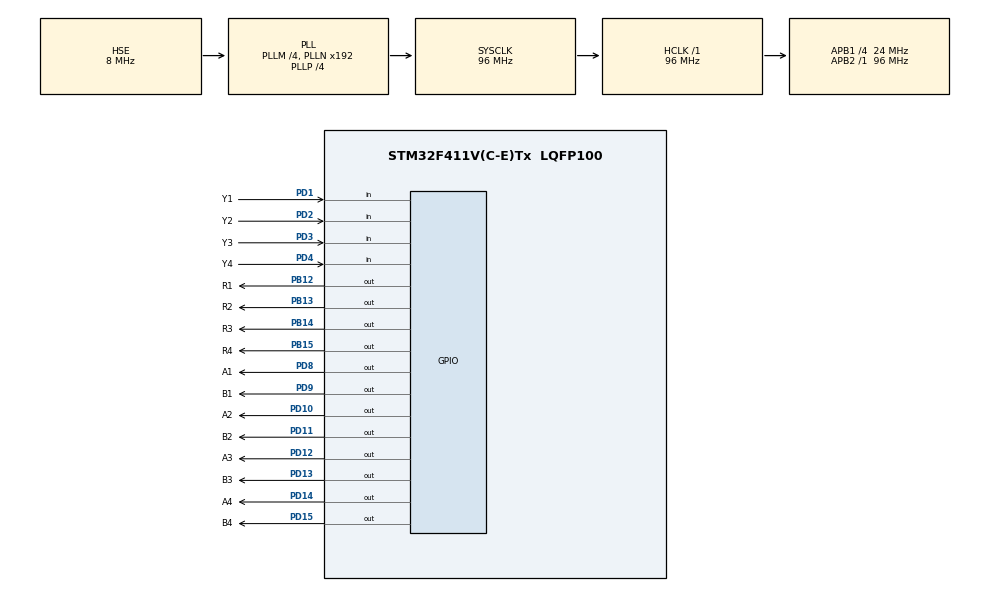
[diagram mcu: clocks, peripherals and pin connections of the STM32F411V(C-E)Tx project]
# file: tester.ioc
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Mcu.Family=STM32F4
Mcu.Name=STM32F411V(C-E)Tx
Mcu.Package=LQFP100
NVIC.PriorityGroup=NVIC_PRIORITYGROUP_0
PA13.Mode=Serial_Wire
PA13.Signal=SYS_JTMS-SWDIO
PA14.Mode=Serial_Wire
PA14.Signal=SYS_JTCK-SWCLK
PB12.GPIO_Label=R1
PB12.Signal=GPIO_Output
PB13.GPIO_Label=R2
PB13.Signal=GPIO_Output
PB14.GPIO_Label=R3
PB14.Signal=GPIO_Output
PB15.GPIO_Label=R4
PB15.Signal=GPIO_Output
PD1.GPIO_Label=Y1
PD1.Signal=GPIO_Input
PD10.GPIO_Label=A2
PD10.Signal=GPIO_Output
PD11.GPIO_Label=B2
PD11.Signal=GPIO_Output
PD12.GPIO_Label=A3
PD12.Signal=GPIO_Output
PD13.GPIO_Label=B3
PD13.Signal=GPIO_Output
PD14.GPIO_Label=A4
PD14.Signal=GPIO_Output
PD15.GPIO_Label=B4
PD15.Signal=GPIO_Output
PD2.GPIO_Label=Y2
PD2.Signal=GPIO_Input
PD3.GPIO_Label=Y3
PD3.Signal=GPIO_Input
PD4.GPIO_Label=Y4
PD4.Signal=GPIO_Input
PD8.GPIO_Label=A1
PD8.Signal=GPIO_Output
PD9.GPIO_Label=B1
PD9.Signal=GPIO_Output
PH0\ -\ OSC_IN.Mode=HSE-External-Oscillator
PH0\ -\ OSC_IN.Signal=RCC_OSC_IN
PH1\ -\ OSC_OUT.Mode=HSE-External-Oscillator
PH1\ -\ OSC_OUT.Signal=RCC_OSC_OUT
ProjectManager.HeapSize=0x200
ProjectManager.StackSize=0x400
ProjectManager.TargetToolchain=STM32CubeIDE
RCC.48MHZClocksFreq_Value=48000000
RCC.AHBFreq_Value=96000000
RCC.APB1CLKDivider=RCC_HCLK_DIV4
RCC.APB1Freq_Value=24000000
RCC.APB1TimFreq_Value=48000000
RCC.APB2Freq_Value=96000000
RCC.APB2TimFreq_Value=96000000
RCC.CortexFreq_Value=96000000
RCC.HCLKFreq_Value=96000000
RCC.HSE_VALUE=8000000
RCC.HSI_VALUE=16000000
RCC.LSE_VALUE=32768
RCC.PLLI2SM=5
RCC.PLLI2SN=200
RCC.PLLM=4
RCC.PLLP=RCC_PLLP_DIV4
RCC.PLLQ=8
RCC.PLLSourceVirtual=RCC_PLLSOURCE_HSE
RCC.SYSCLKFreq_VALUE=96000000
RCC.SYSCLKSource=RCC_SYSCLKSOURCE_PLLCLK
RCC.VCOOutputFreq_Value=384000000
board=STM32F411E-DISCO

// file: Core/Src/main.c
/* USER CODE BEGIN Header */
/**
  ******************************************************************************
  * @file           : main.c
  * @brief          : Main program body
  ******************************************************************************
  * @attention
  *
  * Copyright (c) 2023 STMicroelectronics.
  * All rights reserved.
  *
  * This software is licensed under terms that can be found in the LICENSE file
  * in the root directory of this software component.
  * If no LICENSE file comes with this software, it is provided AS-IS.
  *
  ******************************************************************************
  */
/* USER CODE END Header */
#include "main.h"
#include "gpio.h"

void SystemClock_Config(void);

int main(void)
{

  /* MCU Configuration--------------------------------------------------------*/

  /* Reset of all peripherals, Initializes the Flash interface and the Systick. */
  HAL_Init();

  /* Configure the system clock */
  SystemClock_Config();

  /* Initialize all configured peripherals */
  MX_GPIO_Init();

  /* Infinite loop */
  /* USER CODE BEGIN WHILE */
  while (1)
  {
	  HAL_GPIO_WritePin(GPIOD, A1_Pin, 0);
	  HAL_GPIO_WritePin(GPIOD, B1_Pin, 0);
	  HAL_GPIO_WritePin(GPIOD, A2_Pin, 0);
	  HAL_GPIO_WritePin(GPIOD, B2_Pin, 0);
	  HAL_GPIO_WritePin(GPIOD, A3_Pin, 0);
	  HAL_GPIO_WritePin(GPIOD, B3_Pin, 0);
	  HAL_GPIO_WritePin(GPIOD, A4_Pin, 0);
	  HAL_GPIO_WritePin(GPIOD, B4_Pin, 0);
	  HAL_GPIO_WritePin(GPIOB, R1_Pin, 0);
	  HAL_GPIO_WritePin(GPIOB, R2_Pin, 0);
	  HAL_GPIO_WritePin(GPIOB, R3_Pin, 0);
	  HAL_GPIO_WritePin(GPIOB, R4_Pin, 0);
	  for(int i= 0; i<2; i++){
		  for (int j=0; j<2; j++){
			  HAL_GPIO_WritePin(GPIOD, A1_Pin, i);
			  HAL_GPIO_WritePin(GPIOD, B1_Pin, j);
			  HAL_GPIO_WritePin(GPIOD, A2_Pin, i);
			  HAL_GPIO_WritePin(GPIOD, B2_Pin, j);
			  HAL_GPIO_WritePin(GPIOD, A3_Pin, i);
			  HAL_GPIO_WritePin(GPIOD, B3_Pin, j);
			  HAL_GPIO_WritePin(GPIOD, A4_Pin, i);
			  HAL_GPIO_WritePin(GPIOD, B4_Pin, j);
			  HAL_GPIO_WritePin(GPIOB, R1_Pin, HAL_GPIO_ReadPin(GPIOD, Y1_Pin)==(i^j));
			  HAL_GPIO_WritePin(GPIOB, R2_Pin, HAL_GPIO_ReadPin(GPIOD, Y2_Pin)==(i^j));
			  HAL_GPIO_WritePin(GPIOB, R3_Pin, HAL_GPIO_ReadPin(GPIOD, Y3_Pin)==(i^j));
			  HAL_GPIO_WritePin(GPIOB, R4_Pin, HAL_GPIO_ReadPin(GPIOD, Y4_Pin)==(i^j));
			  HAL_Delay(1000);
			  HAL_GPIO_WritePin(GPIOD, A1_Pin, 0);
			  HAL_GPIO_WritePin(GPIOD, B1_Pin, 0);
			  HAL_GPIO_WritePin(GPIOD, A2_Pin, 0);
			  HAL_GPIO_WritePin(GPIOD, B2_Pin, 0);
			  HAL_GPIO_WritePin(GPIOD, A3_Pin, 0);
			  HAL_GPIO_WritePin(GPIOD, B3_Pin, 0);
			  HAL_GPIO_WritePin(GPIOD, A4_Pin, 0);
			  HAL_GPIO_WritePin(GPIOD, B4_Pin, 0);
			  HAL_GPIO_WritePin(GPIOB, R1_Pin, 0);
			  HAL_GPIO_WritePin(GPIOB, R2_Pin, 0);
			  HAL_GPIO_WritePin(GPIOB, R3_Pin, 0);
			  HAL_GPIO_WritePin(GPIOB, R4_Pin, 0);
			  HAL_Delay(1000);
	  }
	  }
    /* USER CODE END WHILE */

  }
}

void SystemClock_Config(void)
{
  RCC_OscInitTypeDef RCC_OscInitStruct = {0};
  RCC_ClkInitTypeDef RCC_ClkInitStruct = {0};

  /** Configure the main internal regulator output voltage
  */
  __HAL_RCC_PWR_CLK_ENABLE();
  __HAL_PWR_VOLTAGESCALING_CONFIG(PWR_REGULATOR_VOLTAGE_SCALE1);

  /** Initializes the RCC Oscillators according to the specified parameters
  * in the RCC_OscInitTypeDef structure.
  */
  RCC_OscInitStruct.OscillatorType = RCC_OSCILLATORTYPE_HSE;
  RCC_OscInitStruct.HSEState = RCC_HSE_ON;
  RCC_OscInitStruct.PLL.PLLState = RCC_PLL_ON;
  RCC_OscInitStruct.PLL.PLLSource = RCC_PLLSOURCE_HSE;
  RCC_OscInitStruct.PLL.PLLM = 4;
  RCC_OscInitStruct.PLL.PLLN = 192;
  RCC_OscInitStruct.PLL.PLLP = RCC_PLLP_DIV4;
  RCC_OscInitStruct.PLL.PLLQ = 8;
  if (HAL_RCC_OscConfig(&RCC_OscInitStruct) != HAL_OK)
  {
    Error_Handler();
  }

  /** Initializes the CPU, AHB and APB buses clocks
  */
  RCC_ClkInitStruct.ClockType = RCC_CLOCKTYPE_HCLK|RCC_CLOCKTYPE_SYSCLK
                              |RCC_CLOCKTYPE_PCLK1|RCC_CLOCKTYPE_PCLK2;
  RCC_ClkInitStruct.SYSCLKSource = RCC_SYSCLKSOURCE_PLLCLK;
  RCC_ClkInitStruct.AHBCLKDivider = RCC_SYSCLK_DIV1;
  RCC_ClkInitStruct.APB1CLKDivider = RCC_HCLK_DIV4;
  RCC_ClkInitStruct.APB2CLKDivider = RCC_HCLK_DIV1;

  if (HAL_RCC_ClockConfig(&RCC_ClkInitStruct, FLASH_LATENCY_3) != HAL_OK)
  {
    Error_Handler();
  }
}

void Error_Handler(void)
{
  __disable_irq();
  while (1)
  {
  }
}
